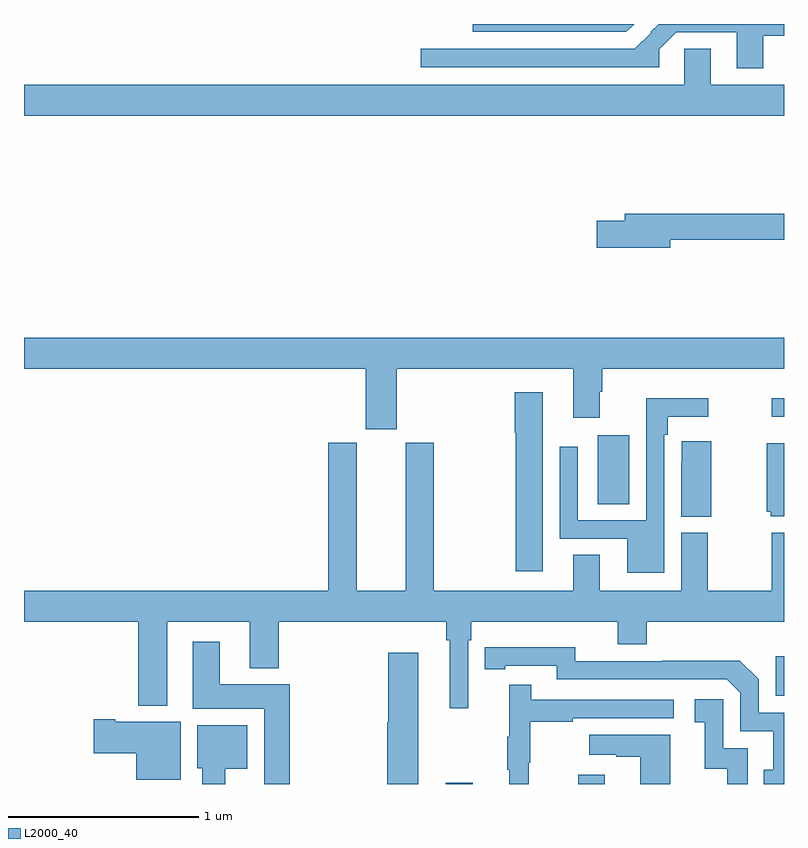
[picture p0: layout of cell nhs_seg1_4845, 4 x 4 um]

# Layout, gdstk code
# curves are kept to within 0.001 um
import gdstk
lib = gdstk.Library(unit=1e-6, precision=1e-09)
def R(c, l, rs):  # rectangles x0, y0, x1, y1
    for r in rs: c.add(gdstk.rectangle(r[:2], r[2:], *l))
def P(c, l, *ps):  # polygons
    for p in ps: c.add(gdstk.Polygon(p, *l))
L2000_40 = (2000, 40)

nhs_seg1_4845 = lib.new_cell('nhs_seg1_4845')
R(nhs_seg1_4845, L2000_40, [(375.221,564.199,375.361,564.205), (375.917,564.199,376.057,564.247), (376.956,564.663,377,564.871), (376.019,565.672,376.186,566.035), (376.935,566.132,377,566.23)])
P(nhs_seg1_4845, L2000_40, [(376.212,568.199),(375.363,568.199),(375.363,568.158),(376.171,568.158)],
  [(376.891,568.137),(377,568.137),(377,568.199),(376.34,568.199),(376.297,568.156),(376.3,568.153),(376.215,568.068),(375.087,568.068),(375.087,567.972),(376.344,567.972),(376.344,568.065),(376.434,568.155),(376.751,568.155),(376.751,567.966),(376.891,567.966)],
  [(377,567.88),(376.615,567.88),(376.615,568.07),(376.476,568.07),(376.476,567.88),(373,567.88),(373,567.716),(377,567.716)],
  [(376.402,567.064),(377,567.064),(377,567.2),(376.163,567.2),(376.163,567.164),(376.014,567.164),(376.014,567.022),(376.402,567.022)],
  [(374.962,566.384),(375.89,566.384),(375.89,566.127),(376.03,566.127),(376.03,566.264),(376.043,566.264),(376.043,566.384),(377,566.384),(377,566.548),(373,566.548),(373,566.384),(374.798,566.384),(374.798,566.067),(374.962,566.067)],
  [(375.73,566.26),(375.584,566.26),(375.584,566.047),(375.589,566.047),(375.589,565.32),(375.73,565.32)],
  [(376.371,566.036),(376.387,566.036),(376.387,566.132),(376.6,566.132),(376.6,566.23),(376.275,566.23),(376.275,565.587),(375.915,565.587),(375.915,565.975),(375.819,565.975),(375.819,565.491),(376.175,565.491),(376.175,565.31),(376.371,565.31)],
  [(376.617,566.002),(376.461,566.002),(376.461,565.889),(376.46,565.889),(376.46,565.606),(376.617,565.606)],
  [(375.339,564.956),(375.353,564.956),(375.353,565.052),(376.124,565.052),(376.124,564.935),(376.277,564.935),(376.277,565.052),(377,565.052),(377,565.522),(376.936,565.522),(376.936,565.216),(376.599,565.216),(376.599,565.521),(376.46,565.521),(376.46,565.216),(376.03,565.216),(376.03,565.406),(375.89,565.406),(375.89,565.216),(375.156,565.216),(375.156,565.995),(375.008,565.995),(375.008,565.216),(374.752,565.216),(374.752,565.995),(374.6,565.995),(374.6,565.216),(373,565.216),(373,565.052),(373.601,565.052),(373.601,564.611),(373.753,564.611),(373.753,565.052),(374.189,565.052),(374.189,564.809),(374.342,564.809),(374.342,565.052),(375.223,565.052),(375.223,564.956),(375.242,564.956),(375.242,564.597),(375.339,564.597)],
  [(377,565.993),(376.91,565.993),(376.91,565.632),(376.929,565.632),(376.929,565.607),(377,565.607)],
  [(374.399,564.724),(374.029,564.724),(374.029,564.949),(373.889,564.949),(373.889,564.596),(374.264,564.596),(374.264,564.199),(374.399,564.199)],
  [(377,564.573),(376.866,564.573),(376.866,564.75),(376.768,564.848),(376.36,564.848),(376.36,564.846),(375.9,564.846),(375.9,564.919),(375.424,564.918),(375.424,564.802),(375.532,564.802),(375.532,564.822),(375.804,564.822),(375.804,564.75),(376.698,564.75),(376.77,564.678),(376.77,564.477),(376.943,564.477),(376.943,564.273),(376.894,564.273),(376.894,564.199),(377,564.199)],
  [(375.076,564.889),(374.918,564.889),(374.918,564.525),(374.912,564.525),(374.912,564.199),(375.076,564.199)],
  [(375.656,564.312),(375.664,564.312),(375.664,564.526),(375.887,564.526),(375.887,564.546),(376.42,564.546),(376.42,564.642),(375.671,564.642),(375.671,564.721),(375.554,564.721),(375.554,564.449),(375.543,564.449),(375.543,564.275),(375.554,564.275),(375.554,564.199),(375.656,564.199)],
  [(376.809,564.387),(376.68,564.387),(376.68,564.646),(376.53,564.646),(376.53,564.525),(376.583,564.525),(376.583,564.279),(376.701,564.279),(376.701,564.199),(376.809,564.199)],
  [(373.825,564.526),(373.48,564.526),(373.48,564.539),(373.368,564.539),(373.368,564.361),(373.592,564.361),(373.592,564.221),(373.825,564.221)],
  [(374.059,564.278),(374.176,564.278),(374.176,564.508),(373.913,564.508),(373.913,564.282),(373.937,564.282),(373.937,564.199),(374.059,564.199)],
  [(376.402,564.457),(375.975,564.457),(375.975,564.353),(376.118,564.353),(376.118,564.343),(376.244,564.343),(376.244,564.199),(376.402,564.199)])

lib.write_gds('nhs_seg1_4845.gds')
